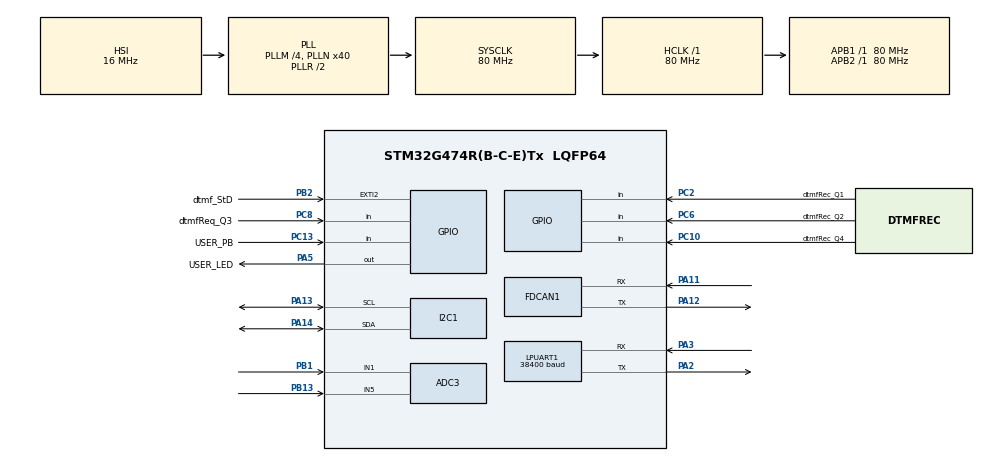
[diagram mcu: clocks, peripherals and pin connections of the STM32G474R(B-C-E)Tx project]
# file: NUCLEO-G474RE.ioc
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ADC3.Channel-1\#ChannelRegularConversion=ADC_CHANNEL_5
ADC3.Channel-2\#ChannelRegularConversion=ADC_CHANNEL_1
ADC3.ClockPrescaler=ADC_CLOCK_ASYNC_DIV64
ADC3.NbrOfConversion=2
ADC3.NbrOfConversionFlag=1
ADC3.OffsetNumber-1\#ChannelRegularConversion=ADC_OFFSET_NONE
ADC3.OffsetNumber-2\#ChannelRegularConversion=ADC_OFFSET_NONE
ADC3.Rank-1\#ChannelRegularConversion=1
ADC3.Rank-2\#ChannelRegularConversion=2
ADC3.SamplingTime-1\#ChannelRegularConversion=ADC_SAMPLETIME_640CYCLES_5
ADC3.SamplingTime-2\#ChannelRegularConversion=ADC_SAMPLETIME_640CYCLES_5
ADC3.master=1
FDCAN1.CalculateBaudRateNominal=500000
FDCAN1.CalculateTimeBitNominal=2000
FDCAN1.CalculateTimeQuantumNominal=400.0
FDCAN1.ClockDivider=FDCAN_CLOCK_DIV2
I2C1.Timing=0x10D19CE4
LPUART1.BaudRate=38400
Mcu.Family=STM32G4
Mcu.Name=STM32G474R(B-C-E)Tx
Mcu.Package=LQFP64
NVIC.ADC3_IRQn=true\:0\:0\:false\:false\:true\:true\:true\:true
NVIC.EXTI2_IRQn=true\:0\:0\:false\:false\:true\:true\:true\:true
NVIC.FDCAN1_IT0_IRQn=true\:0\:0\:false\:false\:true\:true\:true\:true
NVIC.FDCAN1_IT1_IRQn=true\:0\:0\:false\:false\:true\:true\:true\:true
NVIC.I2C1_ER_IRQn=true\:0\:0\:false\:false\:true\:true\:true\:true
NVIC.I2C1_EV_IRQn=true\:0\:0\:false\:false\:true\:true\:true\:true
NVIC.LPUART1_IRQn=true\:0\:0\:false\:true\:true\:1\:true\:true\:true
NVIC.PriorityGroup=NVIC_PRIORITYGROUP_4
PA11.Mode=FDCAN_Activate
PA11.Signal=FDCAN1_RX
PA12.Mode=FDCAN_Activate
PA12.Signal=FDCAN1_TX
PA13.Mode=I2C
PA13.Signal=I2C1_SCL
PA14.Mode=I2C
PA14.Signal=I2C1_SDA
PA2.Mode=Asynchronous
PA2.Signal=LPUART1_TX
PA3.Mode=Asynchronous
PA3.Signal=LPUART1_RX
PA5.GPIO_Label=USER_LED
PA5.Signal=GPIO_Output
PB1.Mode=IN1-Single-Ended
PB1.Signal=ADC3_IN1
PB13.Mode=IN5-Single-Ended
PB13.Signal=ADC3_IN5
PB2.GPIO_Label=dtmf_StD
PB2.GPIO_PuPd=GPIO_PULLDOWN
PB2.Signal=GPXTI2
PC10.GPIO_Label=dtmfRec_Q4
PC10.GPIO_PuPd=GPIO_PULLDOWN
PC10.Signal=GPIO_Input
PC13.GPIO_Label=USER_PB
PC13.Signal=GPIO_Input
PC14-OSC32_IN.Mode=LSE-External-Oscillator
PC14-OSC32_IN.Signal=RCC_OSC32_IN
PC15-OSC32_OUT.Mode=LSE-External-Oscillator
PC15-OSC32_OUT.Signal=RCC_OSC32_OUT
PC2.GPIO_Label=dtmfRec_Q1
PC2.GPIO_PuPd=GPIO_PULLDOWN
PC2.Signal=GPIO_Input
PC6.GPIO_Label=dtmfRec_Q2
PC6.GPIO_PuPd=GPIO_PULLDOWN
PC6.Signal=GPIO_Input
PC8.GPIO_Label=dtmfReq_Q3
PC8.GPIO_Mode=GPIO_MODE_INPUT
PC8.GPIO_PuPd=GPIO_PULLDOWN
PC8.Signal=GPIO_Input
ProjectManager.HeapSize=0x200
ProjectManager.StackSize=0x400
ProjectManager.TargetToolchain=STM32CubeIDE
RCC.ADC12Freq_Value=80000000
RCC.ADC345Freq_Value=80000000
RCC.AHBFreq_Value=80000000
RCC.APB1Freq_Value=80000000
RCC.APB1TimFreq_Value=80000000
RCC.APB2Freq_Value=80000000
RCC.APB2TimFreq_Value=80000000
RCC.CK48CLockSelection=RCC_USBCLKSOURCE_HSI48
RCC.CortexFreq_Value=80000000
RCC.EXTERNAL_CLOCK_VALUE=12288000
RCC.HCLKFreq_Value=80000000
RCC.HSE_VALUE=24000000
RCC.HSI48_VALUE=48000000
RCC.HSI_VALUE=16000000
RCC.LPUART1CLockSelection=RCC_LPUART1CLKSOURCE_HSI
RCC.PLLM=RCC_PLLM_DIV4
RCC.PLLN=40
RCC.RTCClockSelection=RCC_RTCCLKSOURCE_LSE
RCC.SYSCLKFreq_VALUE=80000000
RCC.SYSCLKSource=RCC_SYSCLKSOURCE_PLLCLK
RCC.USBFreq_Value=48000000
RCC.VCOOutputFreq_Value=160000000
VP_IWDG_VS_IWDG.Mode=IWDG_Activate
VP_RNG_VS_RNG.Mode=RNG_Activate
VP_RTC_VS_RTC_Activate.Mode=RTC_Enabled
VP_RTC_VS_RTC_Calendar.Mode=RTC_Calendar
VP_SYS_VS_DBSignals.Mode=DisableDeadBatterySignals
board=custom

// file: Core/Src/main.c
/* USER CODE BEGIN Header */
/**
  ******************************************************************************
  * @file           : main.c
  * @brief          : Main program body
  ******************************************************************************
  * @attention
  *
  * Copyright (c) 2024 STMicroelectronics.
  * All rights reserved.
  *
  * This software is licensed under terms that can be found in the LICENSE file
  * in the root directory of this software component.
  * If no LICENSE file comes with this software, it is provided AS-IS.
  *
  ******************************************************************************
  */
/* USER CODE END Header */
#include "main.h"

/* USER CODE BEGIN Includes */
#include "toggle_heartbeat_led.h"
/* USER CODE END Includes */

/* USER CODE BEGIN PD */
void handle_lpuart1_communication(void);
void HAL_ADC_ConvCpltCallback(ADC_HandleTypeDef *hadc);
void read_adc3_IN1(void);
void Generate_256BIT_RandomSeed(void);
void handleI2c1(void);
void Quick_dtmf_dialer(void);
/* USER CODE END PD */

ADC_HandleTypeDef hadc3;

FDCAN_HandleTypeDef hfdcan1;

I2C_HandleTypeDef hi2c1;

IWDG_HandleTypeDef hiwdg;

UART_HandleTypeDef hlpuart1;

RNG_HandleTypeDef hrng;

RTC_HandleTypeDef hrtc;

void SystemClock_Config(void);
static void MX_GPIO_Init(void);
static void MX_LPUART1_UART_Init(void);
static void MX_IWDG_Init(void);
static void MX_ADC3_Init(void);
static void MX_FDCAN1_Init(void);
static void MX_RNG_Init(void);
static void MX_I2C1_Init(void);
static void MX_RTC_Init(void);
static void MX_NVIC_Init(void);
/* USER CODE BEGIN PFP */
uint8_t IWDG_refreshEnabled = 1;
uint32_t IWGD_systemTickSnapshot = 0;
uint8_t SendMessage_IWDG_resetOccurred = 0;
uint32_t FDCAN_systemTickSnapshot = 0;
uint32_t CAN_received_messages_counter = 0;
/* USER CODE END PFP */

/* USER CODE BEGIN 0 */
FDCAN_TxHeaderTypeDef TxHeader;
FDCAN_RxHeaderTypeDef RxHeader;
uint8_t TxData[12] = {0, 0, 0, 0, 0, 0, 0, 0, 0, 0, 0, 0};
uint8_t RxData[12];
int indx = 0;
uint8_t CAN_Tx_enabled = 0;

// FDCAN1 Callback
void HAL_FDCAN_RxFifo0Callback(FDCAN_HandleTypeDef *hfdcan, uint32_t RxFifo0ITs)
{
    if ((RxFifo0ITs & FDCAN_IT_RX_FIFO0_NEW_MESSAGE) != RESET)
    {
        if (HAL_FDCAN_GetRxMessage(hfdcan, FDCAN_RX_FIFO0, &RxHeader, RxData) != HAL_OK)
        {
            Error_Handler();
        }

        if (HAL_FDCAN_ActivateNotification(hfdcan, FDCAN_IT_RX_FIFO0_NEW_MESSAGE, 0) != HAL_OK)
        {
            Error_Handler();
        }
    }

    CAN_received_messages_counter++;
}

/* USER CODE END 0 */

int main(void)
{

  /* MCU Configuration--------------------------------------------------------*/

  /* Reset of all peripherals, Initializes the Flash interface and the Systick. */
  HAL_Init();

  /* Configure the system clock */
  SystemClock_Config();

  /* USER CODE BEGIN SysInit */
  if (RCC->CSR & RCC_CSR_IWDGRSTF)
  {
    // This was IWDG
      SendMessage_IWDG_resetOccurred = 1;
      __HAL_RCC_CLEAR_RESET_FLAGS(); // Must clear reset status flags.
  }
  /* USER CODE END SysInit */

  /* Initialize all configured peripherals */
  MX_GPIO_Init();
  MX_LPUART1_UART_Init();
  MX_IWDG_Init();
  MX_ADC3_Init();
  MX_FDCAN1_Init();
  MX_RNG_Init();
  MX_I2C1_Init();
  MX_RTC_Init();

  /* Initialize interrupts */
  MX_NVIC_Init();
  /* USER CODE BEGIN 2 */
  // Start FDCAN1
    if (HAL_FDCAN_Start(&hfdcan1) != HAL_OK)
    {
  	  Error_Handler();
    }

    if (HAL_FDCAN_ActivateNotification(&hfdcan1, FDCAN_IT_RX_FIFO0_NEW_MESSAGE, 0) != HAL_OK)
    {
  	  /* Notification Error */
  	  Error_Handler();
    }

    // Configure TX Header for FDCAN1
    TxHeader.Identifier = 0x12345678;
    TxHeader.IdType = FDCAN_EXTENDED_ID;
    TxHeader.TxFrameType = FDCAN_DATA_FRAME;
    TxHeader.DataLength = FDCAN_DLC_BYTES_8;
    TxHeader.ErrorStateIndicator = FDCAN_ESI_ACTIVE;
    TxHeader.BitRateSwitch = FDCAN_BRS_OFF;
    TxHeader.FDFormat = FDCAN_FD_CAN;
    TxHeader.TxEventFifoControl = FDCAN_NO_TX_EVENTS;
    TxHeader.MessageMarker = 0;
  // We need to start ADC3 for the first time from here.
  HAL_ADC_Start_IT(&hadc3);
  /* USER CODE END 2 */

  /* Infinite loop */
  while (1)
  {

    /* USER CODE BEGIN 3 */
#ifdef ENABLE_IWDG
      if (IWDG_refreshEnabled != 0)
      {
          if ((HAL_GetTick() - IWGD_systemTickSnapshot) >= 100)
          {
        	  // The IWDG period is 500 milliseconds so refreshing
              // once every 100 milliseconds is fine.
        	  IWGD_systemTickSnapshot = HAL_GetTick();
              HAL_IWDG_Refresh(&hiwdg);
          }
      }
#endif
	  ToggleHeartbeatLED();
      handle_lpuart1_communication();
      read_adc3_IN1();
      Generate_256BIT_RandomSeed();
      handleI2c1();
      Quick_dtmf_dialer();

      if ((CAN_Tx_enabled != 0) && (HAL_GetTick() - FDCAN_systemTickSnapshot) >= 100)
      {
          TxData[0] -= 1;
          TxData[1] += 1;
          TxData[2] -= 2;
          TxData[3] += 2;
          TxData[4] -= 3;
          TxData[5] += 3;
          TxData[6] -= 4;
          TxData[7] += 4;

    	  FDCAN_systemTickSnapshot = HAL_GetTick();
          if (HAL_FDCAN_AddMessageToTxFifoQ(&hfdcan1, &TxHeader, TxData) != HAL_OK)
          {
        	  Error_Handler();
          }
      }
  }
  /* USER CODE END 3 */
}

void SystemClock_Config(void)
{
  RCC_OscInitTypeDef RCC_OscInitStruct = {0};
  RCC_ClkInitTypeDef RCC_ClkInitStruct = {0};

  /** Configure the main internal regulator output voltage
  */
  HAL_PWREx_ControlVoltageScaling(PWR_REGULATOR_VOLTAGE_SCALE1);

  /** Configure LSE Drive Capability
  */
  HAL_PWR_EnableBkUpAccess();
  __HAL_RCC_LSEDRIVE_CONFIG(RCC_LSEDRIVE_LOW);

  /** Initializes the RCC Oscillators according to the specified parameters
  * in the RCC_OscInitTypeDef structure.
  */
  RCC_OscInitStruct.OscillatorType = RCC_OSCILLATORTYPE_HSI|RCC_OSCILLATORTYPE_HSI48
                              |RCC_OSCILLATORTYPE_LSI|RCC_OSCILLATORTYPE_LSE;
  RCC_OscInitStruct.LSEState = RCC_LSE_ON;
  RCC_OscInitStruct.HSIState = RCC_HSI_ON;
  RCC_OscInitStruct.HSICalibrationValue = RCC_HSICALIBRATION_DEFAULT;
  RCC_OscInitStruct.LSIState = RCC_LSI_ON;
  RCC_OscInitStruct.HSI48State = RCC_HSI48_ON;
  RCC_OscInitStruct.PLL.PLLState = RCC_PLL_ON;
  RCC_OscInitStruct.PLL.PLLSource = RCC_PLLSOURCE_HSI;
  RCC_OscInitStruct.PLL.PLLM = RCC_PLLM_DIV4;
  RCC_OscInitStruct.PLL.PLLN = 40;
  RCC_OscInitStruct.PLL.PLLP = RCC_PLLP_DIV2;
  RCC_OscInitStruct.PLL.PLLQ = RCC_PLLQ_DIV2;
  RCC_OscInitStruct.PLL.PLLR = RCC_PLLR_DIV2;
  if (HAL_RCC_OscConfig(&RCC_OscInitStruct) != HAL_OK)
  {
    Error_Handler();
  }

  /** Initializes the CPU, AHB and APB buses clocks
  */
  RCC_ClkInitStruct.ClockType = RCC_CLOCKTYPE_HCLK|RCC_CLOCKTYPE_SYSCLK
                              |RCC_CLOCKTYPE_PCLK1|RCC_CLOCKTYPE_PCLK2;
  RCC_ClkInitStruct.SYSCLKSource = RCC_SYSCLKSOURCE_PLLCLK;
  RCC_ClkInitStruct.AHBCLKDivider = RCC_SYSCLK_DIV1;
  RCC_ClkInitStruct.APB1CLKDivider = RCC_HCLK_DIV1;
  RCC_ClkInitStruct.APB2CLKDivider = RCC_HCLK_DIV1;

  if (HAL_RCC_ClockConfig(&RCC_ClkInitStruct, FLASH_LATENCY_2) != HAL_OK)
  {
    Error_Handler();
  }
}

/**
  * @brief NVIC Configuration.
  * @retval None
  */
static void MX_NVIC_Init(void)
{
  /* LPUART1_IRQn interrupt configuration */
  HAL_NVIC_SetPriority(LPUART1_IRQn, 0, 0);
  HAL_NVIC_EnableIRQ(LPUART1_IRQn);
}

static void MX_ADC3_Init(void)
{

  ADC_MultiModeTypeDef multimode = {0};
  ADC_ChannelConfTypeDef sConfig = {0};

  /** Common config
  */
  hadc3.Instance = ADC3;
  hadc3.Init.ClockPrescaler = ADC_CLOCK_ASYNC_DIV64;
  hadc3.Init.Resolution = ADC_RESOLUTION_12B;
  hadc3.Init.DataAlign = ADC_DATAALIGN_RIGHT;
  hadc3.Init.GainCompensation = 0;
  hadc3.Init.ScanConvMode = ADC_SCAN_ENABLE;
  hadc3.Init.EOCSelection = ADC_EOC_SINGLE_CONV;
  hadc3.Init.LowPowerAutoWait = DISABLE;
  hadc3.Init.ContinuousConvMode = DISABLE;
  hadc3.Init.NbrOfConversion = 2;
  hadc3.Init.DiscontinuousConvMode = DISABLE;
  hadc3.Init.ExternalTrigConv = ADC_SOFTWARE_START;
  hadc3.Init.ExternalTrigConvEdge = ADC_EXTERNALTRIGCONVEDGE_NONE;
  hadc3.Init.DMAContinuousRequests = DISABLE;
  hadc3.Init.Overrun = ADC_OVR_DATA_PRESERVED;
  hadc3.Init.OversamplingMode = DISABLE;
  if (HAL_ADC_Init(&hadc3) != HAL_OK)
  {
    Error_Handler();
  }

  /** Configure the ADC multi-mode
  */
  multimode.Mode = ADC_MODE_INDEPENDENT;
  if (HAL_ADCEx_MultiModeConfigChannel(&hadc3, &multimode) != HAL_OK)
  {
    Error_Handler();
  }

  /** Configure Regular Channel
  */
  sConfig.Channel = ADC_CHANNEL_5;
  sConfig.Rank = ADC_REGULAR_RANK_1;
  sConfig.SamplingTime = ADC_SAMPLETIME_640CYCLES_5;
  sConfig.SingleDiff = ADC_SINGLE_ENDED;
  sConfig.OffsetNumber = ADC_OFFSET_NONE;
  sConfig.Offset = 0;
  if (HAL_ADC_ConfigChannel(&hadc3, &sConfig) != HAL_OK)
  {
    Error_Handler();
  }

  /** Configure Regular Channel
  */
  sConfig.Channel = ADC_CHANNEL_1;
  sConfig.Rank = ADC_REGULAR_RANK_2;
  if (HAL_ADC_ConfigChannel(&hadc3, &sConfig) != HAL_OK)
  {
    Error_Handler();
  }
  /* USER CODE BEGIN ADC3_Init 2 */
  HAL_ADCEx_Calibration_Start(&hadc3, ADC_SINGLE_ENDED);
  /* USER CODE END ADC3_Init 2 */

}

static void MX_FDCAN1_Init(void)
{

  hfdcan1.Instance = FDCAN1;
  hfdcan1.Init.ClockDivider = FDCAN_CLOCK_DIV2;
  hfdcan1.Init.FrameFormat = FDCAN_FRAME_CLASSIC;
  hfdcan1.Init.Mode = FDCAN_MODE_NORMAL;
  hfdcan1.Init.AutoRetransmission = DISABLE;
  hfdcan1.Init.TransmitPause = DISABLE;
  hfdcan1.Init.ProtocolException = DISABLE;
  hfdcan1.Init.NominalPrescaler = 16;
  hfdcan1.Init.NominalSyncJumpWidth = 1;
  hfdcan1.Init.NominalTimeSeg1 = 2;
  hfdcan1.Init.NominalTimeSeg2 = 2;
  hfdcan1.Init.DataPrescaler = 1;
  hfdcan1.Init.DataSyncJumpWidth = 1;
  hfdcan1.Init.DataTimeSeg1 = 1;
  hfdcan1.Init.DataTimeSeg2 = 1;
  hfdcan1.Init.StdFiltersNbr = 0;
  hfdcan1.Init.ExtFiltersNbr = 0;
  hfdcan1.Init.TxFifoQueueMode = FDCAN_TX_FIFO_OPERATION;
  if (HAL_FDCAN_Init(&hfdcan1) != HAL_OK)
  {
    Error_Handler();
  }

}

static void MX_I2C1_Init(void)
{

  hi2c1.Instance = I2C1;
  hi2c1.Init.Timing = 0x10D19CE4;
  hi2c1.Init.OwnAddress1 = 0;
  hi2c1.Init.AddressingMode = I2C_ADDRESSINGMODE_7BIT;
  hi2c1.Init.DualAddressMode = I2C_DUALADDRESS_DISABLE;
  hi2c1.Init.OwnAddress2 = 0;
  hi2c1.Init.OwnAddress2Masks = I2C_OA2_NOMASK;
  hi2c1.Init.GeneralCallMode = I2C_GENERALCALL_DISABLE;
  hi2c1.Init.NoStretchMode = I2C_NOSTRETCH_DISABLE;
  if (HAL_I2C_Init(&hi2c1) != HAL_OK)
  {
    Error_Handler();
  }

  /** Configure Analogue filter
  */
  if (HAL_I2CEx_ConfigAnalogFilter(&hi2c1, I2C_ANALOGFILTER_ENABLE) != HAL_OK)
  {
    Error_Handler();
  }

  /** Configure Digital filter
  */
  if (HAL_I2CEx_ConfigDigitalFilter(&hi2c1, 0) != HAL_OK)
  {
    Error_Handler();
  }

}

static void MX_IWDG_Init(void)
{

#ifdef ENABLE_IWDG
  hiwdg.Instance = IWDG;
  hiwdg.Init.Prescaler = IWDG_PRESCALER_4;
  hiwdg.Init.Window = 4095;
  hiwdg.Init.Reload = 4095;
  if (HAL_IWDG_Init(&hiwdg) != HAL_OK)
  {
    Error_Handler();
  }
#endif

}

static void MX_LPUART1_UART_Init(void)
{

  hlpuart1.Instance = LPUART1;
  hlpuart1.Init.BaudRate = 38400;
  hlpuart1.Init.WordLength = UART_WORDLENGTH_8B;
  hlpuart1.Init.StopBits = UART_STOPBITS_1;
  hlpuart1.Init.Parity = UART_PARITY_NONE;
  hlpuart1.Init.Mode = UART_MODE_TX_RX;
  hlpuart1.Init.HwFlowCtl = UART_HWCONTROL_NONE;
  hlpuart1.Init.OneBitSampling = UART_ONE_BIT_SAMPLE_DISABLE;
  hlpuart1.Init.ClockPrescaler = UART_PRESCALER_DIV1;
  hlpuart1.AdvancedInit.AdvFeatureInit = UART_ADVFEATURE_NO_INIT;
  if (HAL_UART_Init(&hlpuart1) != HAL_OK)
  {
    Error_Handler();
  }
  if (HAL_UARTEx_SetTxFifoThreshold(&hlpuart1, UART_TXFIFO_THRESHOLD_1_8) != HAL_OK)
  {
    Error_Handler();
  }
  if (HAL_UARTEx_SetRxFifoThreshold(&hlpuart1, UART_RXFIFO_THRESHOLD_1_8) != HAL_OK)
  {
    Error_Handler();
  }
  if (HAL_UARTEx_DisableFifoMode(&hlpuart1) != HAL_OK)
  {
    Error_Handler();
  }

}

static void MX_RNG_Init(void)
{

  hrng.Instance = RNG;
  hrng.Init.ClockErrorDetection = RNG_CED_ENABLE;
  if (HAL_RNG_Init(&hrng) != HAL_OK)
  {
    Error_Handler();
  }

}

static void MX_RTC_Init(void)
{

  RTC_TimeTypeDef sTime = {0};
  RTC_DateTypeDef sDate = {0};

  /** Initialize RTC Only
  */
  hrtc.Instance = RTC;
  hrtc.Init.HourFormat = RTC_HOURFORMAT_24;
  hrtc.Init.AsynchPrediv = 127;
  hrtc.Init.SynchPrediv = 255;
  hrtc.Init.OutPut = RTC_OUTPUT_DISABLE;
  hrtc.Init.OutPutRemap = RTC_OUTPUT_REMAP_NONE;
  hrtc.Init.OutPutPolarity = RTC_OUTPUT_POLARITY_HIGH;
  hrtc.Init.OutPutType = RTC_OUTPUT_TYPE_OPENDRAIN;
  hrtc.Init.OutPutPullUp = RTC_OUTPUT_PULLUP_NONE;
  if (HAL_RTC_Init(&hrtc) != HAL_OK)
  {
    Error_Handler();
  }

  /* USER CODE BEGIN Check_RTC_BKUP */
  if(HAL_RTCEx_BKUPRead(&hrtc, RTC_BKP_DR0) == 0xCB6297D1)
  {
      return; // No need to initialize RTC and set Time and Date.
  }
  /* USER CODE END Check_RTC_BKUP */

  /** Initialize RTC and set the Time and Date
  */
  sTime.Hours = 0x0;
  sTime.Minutes = 0x0;
  sTime.Seconds = 0x0;
  sTime.SubSeconds = 0x0;
  sTime.DayLightSaving = RTC_DAYLIGHTSAVING_NONE;
  sTime.StoreOperation = RTC_STOREOPERATION_RESET;
  if (HAL_RTC_SetTime(&hrtc, &sTime, RTC_FORMAT_BCD) != HAL_OK)
  {
    Error_Handler();
  }
  sDate.WeekDay = RTC_WEEKDAY_MONDAY;
  sDate.Month = RTC_MONTH_JANUARY;
  sDate.Date = 0x1;
  sDate.Year = 0x0;

  if (HAL_RTC_SetDate(&hrtc, &sDate, RTC_FORMAT_BCD) != HAL_OK)
  {
    Error_Handler();
  }
  /* USER CODE BEGIN RTC_Init 2 */
  HAL_RTCEx_BKUPWrite(&hrtc,RTC_BKP_DR0, 0xCB6297D1);
  /* USER CODE END RTC_Init 2 */

}

static void MX_GPIO_Init(void)
{
  GPIO_InitTypeDef GPIO_InitStruct = {0};

  /* GPIO Ports Clock Enable */
  __HAL_RCC_GPIOC_CLK_ENABLE();
  __HAL_RCC_GPIOA_CLK_ENABLE();
  __HAL_RCC_GPIOB_CLK_ENABLE();

  /*Configure GPIO pin Output Level */
  HAL_GPIO_WritePin(USER_LED_GPIO_Port, USER_LED_Pin, GPIO_PIN_RESET);

  /*Configure GPIO pin : USER_PB_Pin */
  GPIO_InitStruct.Pin = USER_PB_Pin;
  GPIO_InitStruct.Mode = GPIO_MODE_INPUT;
  GPIO_InitStruct.Pull = GPIO_NOPULL;
  HAL_GPIO_Init(USER_PB_GPIO_Port, &GPIO_InitStruct);

  /*Configure GPIO pins : dtmfRec_Q1_Pin dtmfRec_Q2_Pin dtmfReq_Q3_Pin dtmfRec_Q4_Pin */
  GPIO_InitStruct.Pin = dtmfRec_Q1_Pin|dtmfRec_Q2_Pin|dtmfReq_Q3_Pin|dtmfRec_Q4_Pin;
  GPIO_InitStruct.Mode = GPIO_MODE_INPUT;
  GPIO_InitStruct.Pull = GPIO_PULLDOWN;
  HAL_GPIO_Init(GPIOC, &GPIO_InitStruct);

  /*Configure GPIO pin : USER_LED_Pin */
  GPIO_InitStruct.Pin = USER_LED_Pin;
  GPIO_InitStruct.Mode = GPIO_MODE_OUTPUT_PP;
  GPIO_InitStruct.Pull = GPIO_NOPULL;
  GPIO_InitStruct.Speed = GPIO_SPEED_FREQ_LOW;
  HAL_GPIO_Init(USER_LED_GPIO_Port, &GPIO_InitStruct);

  /*Configure GPIO pin : dtmf_StD_Pin */
  GPIO_InitStruct.Pin = dtmf_StD_Pin;
  GPIO_InitStruct.Mode = GPIO_MODE_IT_RISING;
  GPIO_InitStruct.Pull = GPIO_PULLDOWN;
  HAL_GPIO_Init(dtmf_StD_GPIO_Port, &GPIO_InitStruct);

  /* EXTI interrupt init*/
  HAL_NVIC_SetPriority(EXTI2_IRQn, 0, 0);
  HAL_NVIC_EnableIRQ(EXTI2_IRQn);

}

void Error_Handler(void)
{
  __disable_irq();
  while (1)
  {
  }
}
